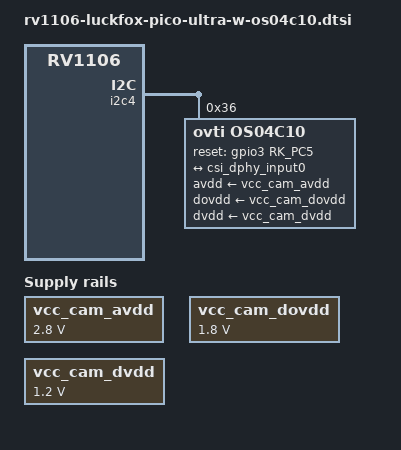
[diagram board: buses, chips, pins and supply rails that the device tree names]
// SPDX-License-Identifier: GPL-2.0

/ {
	vcc_cam_avdd: vcc-cam-avdd {
		compatible = "regulator-fixed";
		regulator-name = "vcc_cam_avdd";
		regulator-min-microvolt = <2800000>;
		regulator-max-microvolt = <2800000>;
		regulator-always-on;
		regulator-boot-on;
	};

	vcc_cam_dovdd: vcc-cam-dovdd {
		compatible = "regulator-fixed";
		regulator-name = "vcc_cam_dovdd";
		regulator-min-microvolt = <1800000>;
		regulator-max-microvolt = <1800000>;
		regulator-always-on;
		regulator-boot-on;
	};

	vcc_cam_dvdd: vcc-cam-dvdd {
		compatible = "regulator-fixed";
		regulator-name = "vcc_cam_dvdd";
		regulator-min-microvolt = <1200000>;
		regulator-max-microvolt = <1200000>;
		regulator-always-on;
		regulator-boot-on;
	};
};

&sc3336 {
	status = "disabled";
};

&mis5001 {
	status = "disabled";
};

&csi_dphy_input0 {
	remote-endpoint = <&os04c10_out>;
	data-lanes = <1 2>;
};

&i2c4 {
	pinctrl-0 = <&i2c4m2_xfer>;

	os04c10: os04c10@36 {
		compatible = "ovti,os04c10";
		reg = <0x36>;
		status = "okay";

		clocks = <&cru MCLK_REF_MIPI0>;
		clock-names = "xvclk";
		assigned-clocks = <&cru MCLK_REF_MIPI0>;
		assigned-clock-rates = <12000000>;

		avdd-supply = <&vcc_cam_avdd>;
		dovdd-supply = <&vcc_cam_dovdd>;
		dvdd-supply = <&vcc_cam_dvdd>;

		reset-gpios = <&gpio3 RK_PC5 GPIO_ACTIVE_HIGH>;
		pinctrl-names = "default";
		pinctrl-0 = <&mipi_refclk_out0>;

		rockchip,camera-module-index = <0>;
		rockchip,camera-module-facing = "back";
		rockchip,camera-module-name = "OS04C10";
		rockchip,camera-module-lens-name = "default";

		port {
			os04c10_out: endpoint {
				remote-endpoint = <&csi_dphy_input0>;
				data-lanes = <1 2>;
			};
		};
	};
};
